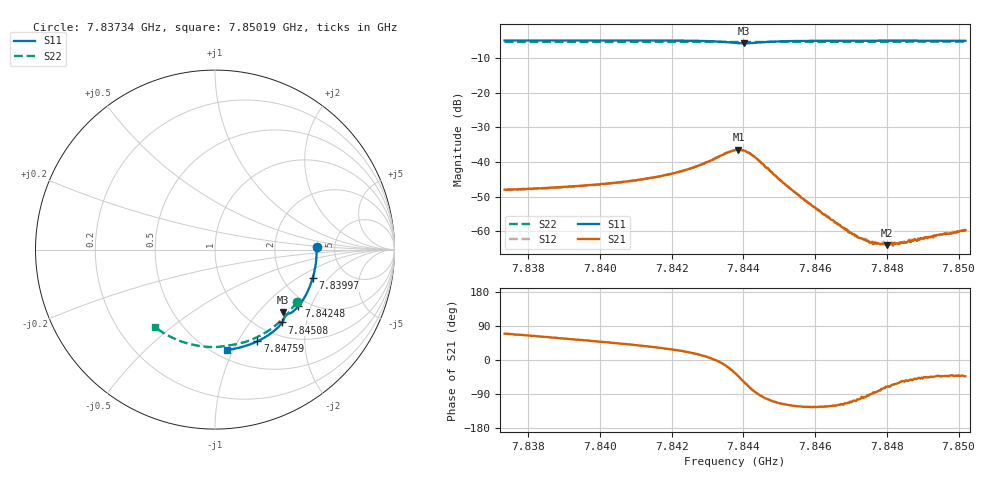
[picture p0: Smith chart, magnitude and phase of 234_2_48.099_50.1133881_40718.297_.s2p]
#  HZ  S  RI  R  50.00
! Rohde & Schwarz Vector Network Analyzer
! Rohde-Schwarz,ZNB20-2Port,1311601062101988,3.16
! Created: UTC 12/23/2023, 3:58:05 AM
! freq[Hz]  re:S11  im:S11  re:S21  im:S21  re:S12  im:S12  re:S22  im:S22
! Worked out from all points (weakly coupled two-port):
!   401 points, 7.83734 GHz to 7.85019 GHz, reference 50 ohm
!   highest |S21| = -36.41 dB at 7.84386 GHz (marker M1); lowest = -64.0 dB at 7.84801 GHz (marker M2)
!   lowest |S11| = -5.8 dB at 7.84402 GHz (marker M3), VSWR 3.12, Z = 72.4 - j68.7 ohm
!   |S11| at or under -10 dB: nowhere
!   |S22| runs from -5.4 to -5.3 dB; largest |S21 - S12| = 0.00029
!   S11 on the Smith chart (normalised r, x): 7.83734 GHz: 3.61, +0.14; 7.83997 GHz: 2.90, -1.37; 7.84248 GHz: 1.77, -1.64; 7.84508 GHz: 1.25, -1.46; 7.84759 GHz: 0.81, -1.21; 7.85019 GHz: 0.58, -0.95
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7.83734e9  0.5663 0.0136  0.0014 0.00375  0.00141 0.00368  0.4549 -0.2902
7.839493e9  0.552 -0.129  0.00275 0.00361  0.00273 0.00355  0.3578 -0.4051
7.839975e9  0.5439 -0.1603  0.00315 0.00358  0.00312 0.00355  0.3318 -0.4267
7.840939e9  0.5211 -0.2219  0.00415 0.0035  0.00412 0.00346  0.2762 -0.4652
7.841645e9  0.4993 -0.2657  0.00522 0.00333  0.0052 0.00335  0.2325 -0.4889
7.842481e9  0.465 -0.3157  0.00747 0.00275  0.00743 0.00277  0.1782 -0.5111
7.843284e9  0.4165 -0.3556  0.0117 -0.000628  0.0117 -0.000561  0.1237 -0.5263
7.843766e9  0.3822 -0.3566  0.0122 -0.00841  0.0122 -0.00843  0.0916 -0.5312
7.843862e9  0.3788 -0.3531  0.0111 -0.0103  0.011 -0.0104  0.0853 -0.5321
7.844023e9  0.3789 -0.3487  0.00767 -0.0125  0.00768 -0.0125  0.0754 -0.5338
7.844344e9  0.388 -0.356  0.000944 -0.0115  0.000872 -0.0115  0.0546 -0.5377
7.845083e9  0.374 -0.4058  -0.00225 -0.00467  -0.00224 -0.00464  0.00282 -0.5427
7.845918e9  0.3331 -0.4499  -0.00133 -0.00192  -0.00131 -0.00195  -0.0561 -0.5406
7.846625e9  0.2931 -0.4792  -0.000607 -0.00111  -0.000649 -0.00113  -0.1055 -0.5339
7.846979e9  0.2725 -0.4919  -0.000324 -0.000916  -0.000373 -0.000931  -0.1297 -0.5286
7.847171e9  0.2611 -0.4985  -0.000203 -0.000807  -0.000226 -0.000828  -0.1428 -0.5254
7.847589e9  0.2359 -0.511  1.52e-05 -0.000706  2.79e-05 -0.000694  -0.1709 -0.5172
7.848007e9  0.2101 -0.5223  0.000213 -0.000594  0.000227 -0.000621  -0.1987 -0.5076
7.848071e9  0.206 -0.5238  0.000215 -0.000616  0.000205 -0.00063  -0.2027 -0.506
7.848489e9  0.1798 -0.5335  0.000369 -0.000576  0.000395 -0.000605  -0.2298 -0.4945
7.849356e9  0.124 -0.5489  0.000624 -0.000589  0.000613 -0.000611  -0.2837 -0.4662
7.850191e9  0.069 -0.5581  0.000762 -0.000713  0.000759 -0.000665  -0.3322 -0.4335
